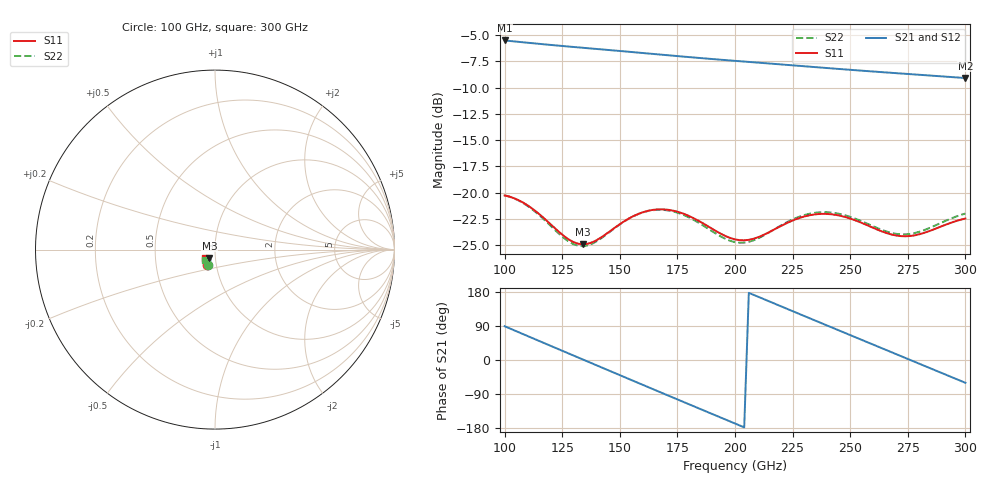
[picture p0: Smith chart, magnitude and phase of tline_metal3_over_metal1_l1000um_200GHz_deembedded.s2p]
! Created with skrf 2.2.0 (http://scikit-rf.org).
# GHz S DB R 50.0
! Port[1] = P1
! Port[2] = P2
!freq dBS11 angS11 dBS21 angS21 dBS12 angS12 dBS22 angS22
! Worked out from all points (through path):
!   101 points, 100 GHz to 300 GHz, reference 50 ohm
!   highest |S21| = -5.52 dB at 100 GHz (marker M1); lowest = -9.1 dB at 300 GHz (marker M2)
!   group delay of S21, straight-line fit = 7.07 ps
!   lowest |S11| = -24.9 dB at 134 GHz (marker M3), VSWR 1.12, Z = 46.7 - j4.42 ohm
!   |S11| at or under -10 dB: start of sweep to end of sweep
!   |S22| runs from -25.1 to -20.3 dB; largest |S21 - S12| = 8.6e-15
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100  -20.27 -115.9  -5.52 89.2  -5.52 89.2  -20.26 -115.2
108  -20.95 -125.9  -5.69 68.4  -5.69 68.4  -20.99 -125.3
118  -22.62 -133.4  -5.90 42.5  -5.90 42.5  -22.74 -132.7
126  -24.18 -132.1  -6.06 21.8  -6.06 21.8  -24.37 -130.9
134  -24.92 -123.8  -6.22 1.2  -6.22 1.2  -25.10 -121.9
142  -24.25 -116.2  -6.37 -19.4  -6.37 -19.4  -24.34 -114.0
152  -22.72 -116.1  -6.56 -45.1  -6.56 -45.1  -22.74 -114.3
160  -21.87 -121.7  -6.71 -65.6  -6.71 -65.6  -21.89 -120.1
168  -21.59 -129.1  -6.87 -86.1  -6.87 -86.1  -21.64 -127.8
182  -22.43 -140.2  -7.14 -121.8  -7.14 -121.8  -22.59 -138.9
192  -23.69 -141.9  -7.32 -147.3  -7.32 -147.3  -23.95 -140.0
200  -24.45 -137.7  -7.46 -167.6  -7.46 -167.6  -24.72 -134.8
208  -24.40 -131.5  -7.60 172.1  -7.60 172.1  -24.55 -127.6
216  -23.63 -128.1  -7.73 151.8  -7.73 151.8  -23.63 -124.1
226  -22.57 -130.1  -7.90 126.4  -7.90 126.4  -22.46 -126.5
234  -22.09 -134.8  -8.04 106.1  -8.04 106.1  -21.94 -131.5
242  -22.07 -140.3  -8.18 85.9  -8.18 85.9  -21.90 -137.2
250  -22.47 -144.8  -8.31 65.7  -8.31 65.7  -22.31 -141.9
260  -23.36 -146.9  -8.48 40.5  -8.48 40.5  -23.21 -143.9
268  -23.99 -144.6  -8.60 20.4  -8.60 20.4  -23.84 -141.3
284  -23.69 -136.6  -8.85 -19.9  -8.85 -19.9  -23.41 -132.7
300  -22.47 -139.0  -9.10 -60.1  -9.10 -60.1  -21.99 -135.1
